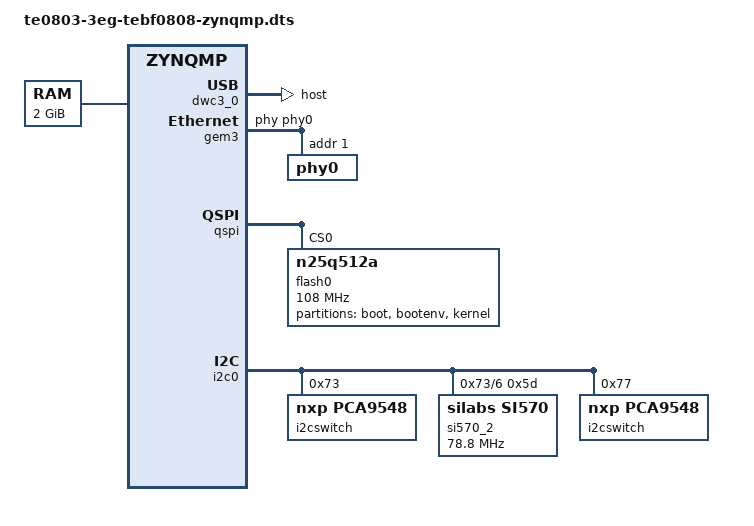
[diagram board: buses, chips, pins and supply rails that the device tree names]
/dts-v1/;
/include/ "zynqmp.dtsi"
/include/ "zynqmp-clk-ccf.dtsi"
/include/ "pl.dtsi"
/include/ "pcw.dtsi"
/ {
	chosen {
		/*bootargs = "console=ttyPS0,115200 earlyprintk";*/
		bootargs = "earlycon clk_ignore_unused";
		stdout-path = "serial0:115200n8";
	};
	aliases {
		ethernet0 = &gem3;
                i2c0 = &i2c0;
		serial0 = &uart0;
		spi0 = &qspi;
	};
	memory {
		device_type = "memory";
		reg = <0x0 0x0 0x0 0x80000000>;
	};
	cpus {
	};
        xlnk {
                compatible = "xlnx,xlnk-1.0";
        };

};

/* SD */
&sdhci1 {
        // disable-wp;
        no-1-8-v;

};

/* USB  */

&dwc3_0 {
    status = "okay";
    dr_mode = "host";
};

/* ETH PHY */
&gem3 {
        local-mac-address = [00 0a 35 00 22 05];  
	phy-handle = <&phy0>;
	phy0: phy0@1 {
		device_type = "ethernet-phy";
		reg = <1>;
	};
};

/* QSPI */
&qspi {
    #address-cells = <1>;
    #size-cells = <0>;
    status = "okay";
    flash0: flash@0 {
	    compatible = "n25q512a","micron,m25p80","jedec,spi-nor";
	    spi-tx-bus-width=<1>;
	    spi-rx-bus-width=<4>;
	    reg = <0x0>;
	    #address-cells = <1>;
	    #size-cells = <1>;
	    spi-max-frequency = <108000000>;
	    partition@0x00000000 {
		    label = "boot";
		    reg = <0x00000000 0x00100000>;
	    };
	    partition@0x00100000 {
	            label = "bootenv";
		    reg = <0x00100000 0x00040000>;
	    };
	    partition@0x00140000 {
	     	    label = "kernel";
		    reg = <0x00140000 0x01600000>;
	    };
    };
};

&sata {


	ceva,p0-cominit-params = /bits/ 8 <0x1B 0x4D 0x18 0x28>;
	ceva,p0-comwake-params = /bits/ 8 <0x06 0x19 0x08 0x0E>;
	ceva,p0-burst-params = /bits/ 8 <0x13 0x08 0x4A 0x06>;
	ceva,p0-retry-params = /bits/ 16 <0x96A4 0x3FFC>;

	ceva,p1-cominit-params = /bits/ 8 <0x1B 0x4D 0x18 0x28>;
	ceva,p1-comwake-params = /bits/ 8 <0x06 0x19 0x08 0x0E>;
	ceva,p1-burst-params = /bits/ 8 <0x13 0x08 0x4A 0x06>;
	ceva,p1-retry-params = /bits/ 16 <0x96A4 0x3FFC>;

};


/* I2C */
&i2c0 {
    i2cswitch@73 { // u
        compatible = "nxp,pca9548";
        #address-cells = <1>;
        #size-cells = <0>;
        reg = <0x73>;
        i2c-mux-idle-disconnect;

        i2c@2 { // PCIe
            #address-cells = <1>;
            #size-cells = <0>;
            reg = <2>;
        };
        i2c@3 { // i2c SFP
            #address-cells = <1>;
            #size-cells = <0>;
            reg = <3>;
        };
        i2c@4 { // i2c SFP
            #address-cells = <1>;
            #size-cells = <0>;
            reg = <4>;
        };
        i2c@5 { // i2c EEPROM
            #address-cells = <1>;
            #size-cells = <0>;
            reg = <5>;
        };
        i2c@6 { // i2c FMC
            #address-cells = <1>;
            #size-cells = <0>;
            reg = <6>;

            si570_2: clock-generator3@5d {
                #clock-cells = <0>;
                compatible = "silabs,si570";
                reg = <0x5d>;
                temperature-stability = <50>;
                factory-fout = <156250000>;
                clock-frequency = <78800000>;
            };
        };
        i2c@7 { // i2c USB HUB
            #address-cells = <1>;
            #size-cells = <0>;
            reg = <7>;
        };
    };
    i2cswitch@77 { // u
        compatible = "nxp,pca9548";
        #address-cells = <1>;
        #size-cells = <0>;
        reg = <0x77>;
        i2c-mux-idle-disconnect;
        i2c@0 { // i2c PMOD
            #address-cells = <1>;
            #size-cells = <0>;
            reg = <0>;
        };
        i2c@1 { // i2c Audio Codec
            #address-cells = <1>;
            #size-cells = <0>;
            reg = <1>;
			/*
            adau1761: adau1761@38 {
                compatible = "adi,adau1761";
                reg = <0x38>;
            };
			*/
        };
        i2c@2 { // i2c FireFly A
            #address-cells = <1>;
            #size-cells = <0>;
            reg = <2>;
        };
        i2c@3 { // i2c FireFly B
            #address-cells = <1>;
            #size-cells = <0>;
            reg = <3>;
        };
        i2c@4 { // i2c PLL
            #address-cells = <1>;
            #size-cells = <0>;
            reg = <4>;
        };
        i2c@5 { // i2c SC
            #address-cells = <1>;
            #size-cells = <0>;
            reg = <5>;
        };
        i2c@6 { // i2c
            #address-cells = <1>;
            #size-cells = <0>;
            reg = <6>;
        };
        i2c@7 { // i2c
            #address-cells = <1>;
            #size-cells = <0>;
            reg = <7>;
        };
    };
};


/* UNUSED DMA disable */
&lpd_dma_chan1 {
    status = "disabled";
};
&lpd_dma_chan2 {
    status = "disabled";
};
&lpd_dma_chan3 {
    status = "disabled";
};
&lpd_dma_chan4 {
    status = "disabled";
};
&lpd_dma_chan5 {
    status = "disabled";
};
&lpd_dma_chan6 {
    status = "disabled";
};
&lpd_dma_chan7 {
    status = "disabled";
};
&lpd_dma_chan8 {
    status = "disabled";
};

